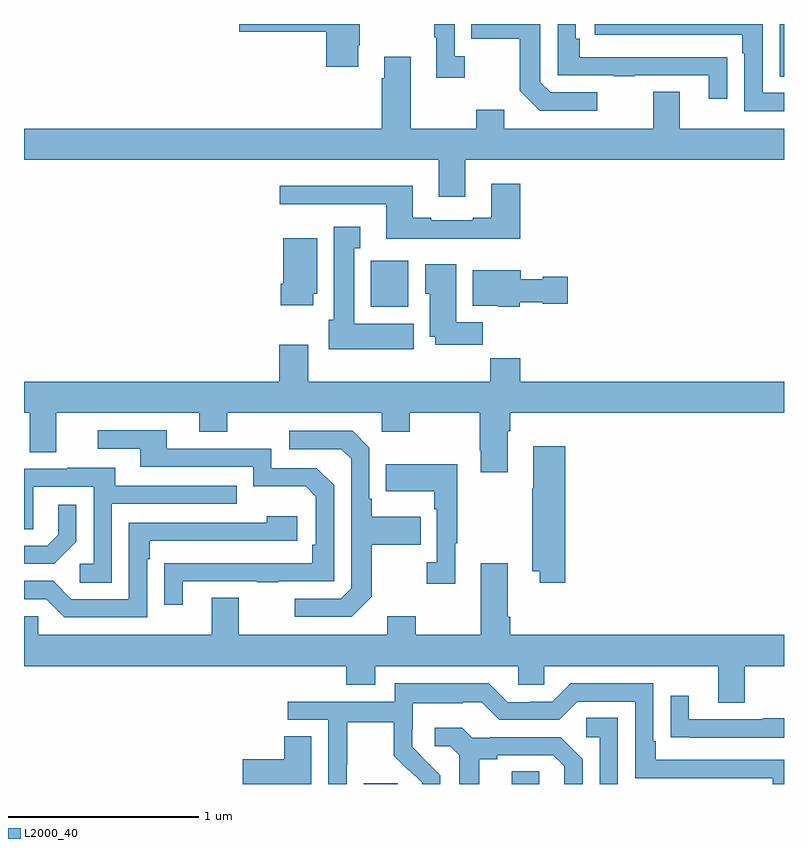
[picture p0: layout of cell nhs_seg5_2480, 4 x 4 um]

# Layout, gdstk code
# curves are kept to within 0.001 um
import gdstk
lib = gdstk.Library(unit=1e-6, precision=1e-09)
def R(c, l, rs):  # rectangles x0, y0, x1, y1
    for r in rs: c.add(gdstk.rectangle(r[:2], r[2:], *l))
def P(c, l, *ps):  # polygons
    for p in ps: c.add(gdstk.Polygon(p, *l))
L2000_40 = (2000, 40)

nhs_seg5_2480 = lib.new_cell('nhs_seg5_2480')
R(nhs_seg5_2480, L2000_40, [(256.787,862.799,256.966,862.803), (257.567,862.799,257.712,862.865), (256.826,865.31,257.023,865.552), (258.978,866.521,259,866.799)])
P(nhs_seg5_2480, L2000_40, [(259,866.436),(258.888,866.436),(258.888,866.799),(258.003,866.799),(258.003,866.742),(258.779,866.742),(258.779,866.645),(258.792,866.645),(258.792,866.34),(259,866.34)],
  [(258.701,866.624),(258.599,866.624),(258.599,866.625),(257.924,866.625),(257.924,866.722),(257.904,866.722),(257.904,866.799),(257.808,866.799),(257.808,866.529),(258.103,866.529),(258.103,866.524),(258.215,866.524),(258.215,866.529),(258.605,866.529),(258.605,866.406),(258.701,866.406)],
  [(258.016,866.439),(257.772,866.439),(257.718,866.493),(257.718,866.799),(257.353,866.799),(257.353,866.722),(257.61,866.722),(257.61,866.449),(257.715,866.343),(258.016,866.343)],
  [(257.32,866.63),(257.268,866.63),(257.268,866.799),(257.16,866.799),(257.16,866.729),(257.171,866.729),(257.171,866.517),(257.32,866.517)],
  [(256.759,866.686),(256.767,866.686),(256.767,866.799),(256.134,866.799),(256.134,866.759),(256.592,866.759),(256.592,866.574),(256.759,866.574)],
  [(257.323,866.084),(259,866.084),(259,866.248),(258.451,866.248),(258.451,866.443),(258.311,866.443),(258.311,866.248),(257.527,866.248),(257.527,866.347),(257.38,866.347),(257.38,866.248),(257.035,866.248),(257.035,866.626),(256.895,866.626),(256.895,866.513),(256.883,866.513),(256.883,866.248),(255,866.248),(255,866.084),(257.183,866.084),(257.183,865.89),(257.323,865.89)],
  [(257.612,865.957),(257.459,865.957),(257.459,865.78),(257.363,865.78),(257.363,865.767),(257.143,865.767),(257.143,865.78),(257.047,865.78),(257.047,865.948),(256.347,865.948),(256.347,865.851),(256.907,865.851),(256.907,865.67),(257.612,865.67)],
  [(257.05,865.222),(256.738,865.222),(256.738,865.619),(256.771,865.619),(256.771,865.732),(256.631,865.732),(256.631,865.242),(256.604,865.242),(256.604,865.088),(257.05,865.088)],
  [(256.522,865.38),(256.543,865.38),(256.543,865.672),(256.364,865.672),(256.364,865.432),(256.352,865.432),(256.352,865.32),(256.522,865.32)],
  [(257.414,865.228),(257.275,865.228),(257.275,865.534),(257.111,865.534),(257.111,865.38),(257.135,865.38),(257.135,865.154),(257.165,865.154),(257.165,865.11),(257.414,865.11)],
  [(257.61,865.334),(257.73,865.334),(257.73,865.327),(257.863,865.327),(257.863,865.469),(257.73,865.469),(257.73,865.456),(257.614,865.456),(257.614,865.504),(257.363,865.504),(257.363,865.316),(257.496,865.316),(257.496,865.31),(257.61,865.31)],
  [(257.545,864.656),(257.558,864.656),(257.558,864.752),(259,864.752),(259,864.916),(257.612,864.916),(257.612,865.04),(257.455,865.04),(257.455,864.916),(256.495,864.916),(256.495,865.111),(256.343,865.111),(256.343,864.916),(255,864.916),(255,864.752),(255.029,864.752),(255.029,864.544),(255.169,864.544),(255.169,864.752),(255.923,864.752),(255.923,864.653),(256.071,864.653),(256.071,864.752),(256.884,864.752),(256.884,864.653),(257.031,864.653),(257.031,864.752),(257.398,864.752),(257.398,864.553),(257.405,864.553),(257.405,864.441),(257.545,864.441)],
  [(255.835,863.865),(256.225,863.865),(256.225,863.86),(256.337,863.86),(256.337,863.865),(256.632,863.865),(256.632,864.372),(256.542,864.462),(256.302,864.462),(256.302,864.564),(255.751,864.564),(255.751,864.66),(255.387,864.66),(255.387,864.564),(255.611,864.564),(255.611,864.468),(256.206,864.468),(256.206,864.365),(256.483,864.365),(256.536,864.312),(256.536,864.058),(256.516,864.058),(256.516,863.961),(255.739,863.96),(255.739,863.742),(255.835,863.742)],
  [(256.831,863.785),(256.831,864.058),(257.087,864.058),(257.087,864.205),(256.831,864.205),(256.831,864.301),(256.818,864.301),(256.818,864.57),(256.731,864.657),(256.395,864.657),(256.395,864.561),(256.671,864.561),(256.722,864.51),(256.722,863.829),(256.668,863.775),(256.425,863.775),(256.425,863.679),(256.725,863.679)],
  [(257.849,864.577),(257.681,864.577),(257.681,864.353),(257.674,864.353),(257.674,863.918),(257.714,863.918),(257.714,863.859),(257.849,863.859)],
  [(257.269,864.065),(257.281,864.065),(257.281,864.481),(256.903,864.481),(256.903,864.341),(257.16,864.341),(257.16,864.245),(257.172,864.245),(257.172,863.966),(257.121,863.966),(257.121,863.853),(257.269,863.853)],
  [(255.462,864.273),(256.121,864.273),(256.121,864.369),(255.481,864.369),(255.481,864.463),(255.227,864.463),(255.227,864.459),(255,864.459),(255,864.139),(255.048,864.139),(255.048,864.363),(255.366,864.363),(255.366,863.958),(255.294,863.958),(255.294,863.857),(255.462,863.857)],
  [(255.276,864.074),(255.276,864.268),(255.179,864.268),(255.179,864.111),(255.122,864.054),(255,864.054),(255,863.958),(255.16,863.958)],
  [(255.648,863.981),(255.661,863.981),(255.661,864.078),(256.438,864.078),(256.438,864.208),(256.277,864.208),(256.277,864.174),(255.552,864.174),(255.552,863.772),(255.249,863.772),(255.153,863.868),(255,863.868),(255,863.772),(255.117,863.772),(255.213,863.676),(255.648,863.676)],
  [(258.793,863.42),(259,863.42),(259,863.584),(257.558,863.584),(257.558,863.68),(257.545,863.68),(257.545,863.962),(257.405,863.962),(257.405,863.584),(257.061,863.584),(257.061,863.683),(256.913,863.683),(256.913,863.584),(256.129,863.584),(256.129,863.779),(255.989,863.779),(255.989,863.584),(255.075,863.584),(255.075,863.682),(255,863.682),(255,863.42),(256.697,863.42),(256.697,863.321),(256.849,863.321),(256.849,863.42),(257.601,863.42),(257.601,863.322),(257.739,863.322),(257.739,863.42),(258.653,863.42),(258.653,863.226),(258.793,863.226)],
  [(256.698,862.9),(256.701,862.9),(256.701,863.124),(256.945,863.124),(256.945,862.949),(257.022,862.872),(257.025,862.875),(257.096,862.805),(257.096,862.799),(257.19,862.799),(257.19,862.846),(257.044,862.994),(257.044,863.091),(257.046,863.091),(257.046,863.225),(257.309,863.225),(257.309,863.229),(257.409,863.229),(257.502,863.136),(257.817,863.136),(257.913,863.232),(258.216,863.232),(258.216,862.83),(258.941,862.83),(258.941,862.799),(259,862.799),(259,862.926),(258.325,862.926),(258.325,863.023),(258.312,863.023),(258.312,863.328),(257.877,863.328),(257.781,863.232),(257.663,863.232),(257.663,863.229),(257.547,863.229),(257.447,863.329),(256.95,863.329),(256.95,863.232),(256.389,863.232),(256.389,863.136),(256.602,863.136),(256.602,862.799),(256.698,862.799)],
  [(259,863.144),(258.889,863.144),(258.889,863.139),(258.499,863.139),(258.499,863.263),(258.403,863.263),(258.403,863.044),(258.505,863.044),(258.505,863.043),(259,863.043)],
  [(258.126,863.147),(257.958,863.147),(257.958,863.046),(258.03,863.046),(258.03,862.799),(258.126,862.799)],
  [(257.395,862.928),(257.491,862.928),(257.491,862.95),(257.786,862.95),(257.843,862.893),(257.843,862.799),(257.94,862.799),(257.94,862.93),(257.824,863.046),(257.452,863.046),(257.452,863.043),(257.358,863.043),(257.306,863.095),(257.163,863.095),(257.163,862.998),(257.244,862.998),(257.291,862.951),(257.291,862.799),(257.395,862.799)],
  [(256.513,863.051),(256.37,863.051),(256.37,862.928),(256.152,862.928),(256.152,862.799),(256.513,862.799)])

lib.write_gds('nhs_seg5_2480.gds')
